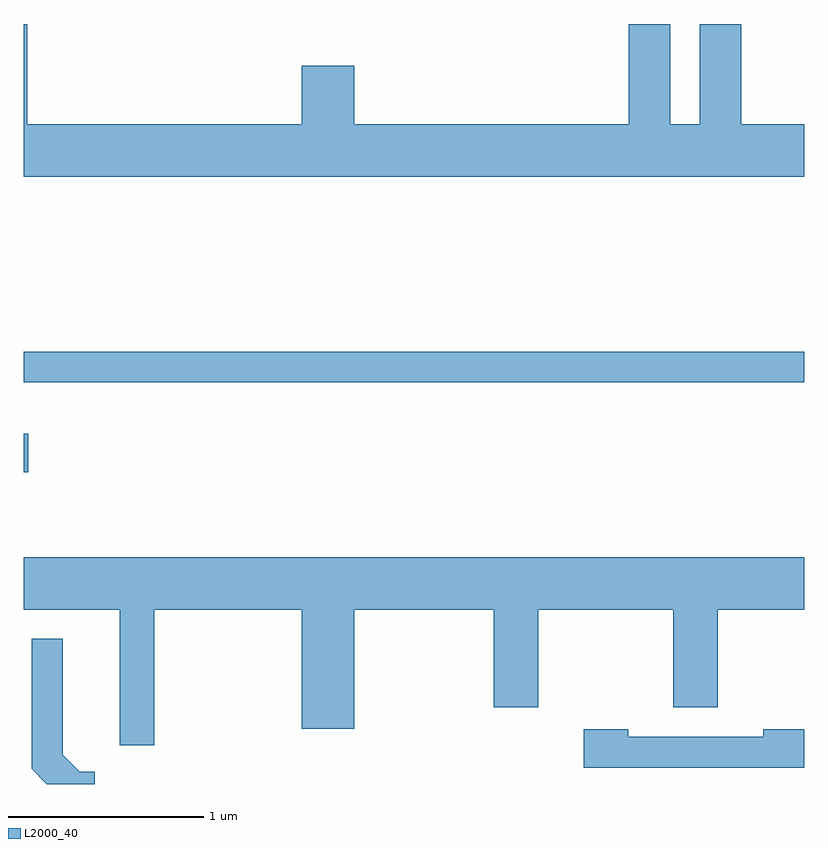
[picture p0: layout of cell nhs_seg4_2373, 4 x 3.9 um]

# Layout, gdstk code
import gdstk
lib = gdstk.Library(unit=1e-6, precision=1e-09)
def R(c, l, rs):  # rectangles x0, y0, x1, y1
    for r in rs: c.add(gdstk.rectangle(r[:2], r[2:], *l))
def P(c, l, *ps):  # polygons
    for p in ps: c.add(gdstk.Polygon(p, *l))
L2000_40 = (2000, 40)

nhs_seg4_2373 = lib.new_cell('nhs_seg4_2373')
R(nhs_seg4_2373, L2000_40, [(253.611,1377.581,253.634,1377.779), (253.611,1378.041,257.611,1378.199)])
P(nhs_seg4_2373, L2000_40, [(257.611,1379.364),(257.289,1379.364),(257.289,1379.879),(257.076,1379.879),(257.076,1379.364),(256.924,1379.364),(256.924,1379.879),(256.711,1379.879),(256.711,1379.364),(255.304,1379.364),(255.304,1379.664),(255.036,1379.664),(255.036,1379.364),(253.629,1379.364),(253.629,1379.879),(253.611,1379.879),(253.611,1379.096),(257.611,1379.096)],
  [(254.279,1376.876),(255.036,1376.876),(255.036,1376.266),(255.304,1376.266),(255.304,1376.876),(256.021,1376.876),(256.021,1376.376),(256.249,1376.376),(256.249,1376.876),(256.941,1376.876),(256.941,1376.376),(257.169,1376.376),(257.169,1376.876),(257.611,1376.876),(257.611,1377.144),(253.611,1377.144),(253.611,1376.876),(254.101,1376.876),(254.101,1376.181),(254.279,1376.181)],
  [(253.974,1376.044),(253.897,1376.044),(253.809,1376.132),(253.809,1376.728),(253.651,1376.728),(253.651,1376.059),(253.728,1375.982),(253.974,1375.982)],
  [(257.611,1376.264),(257.401,1376.264),(257.401,1376.224),(256.709,1376.224),(256.709,1376.264),(256.481,1376.264),(256.481,1376.066),(257.611,1376.066)])

lib.write_gds('nhs_seg4_2373.gds')
